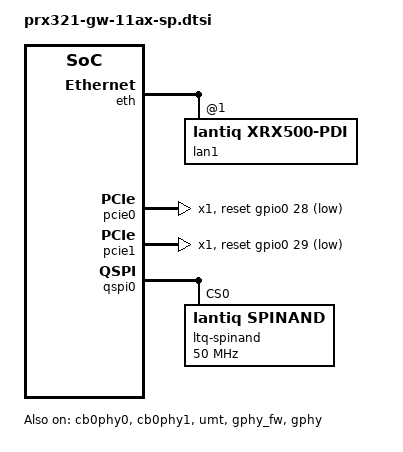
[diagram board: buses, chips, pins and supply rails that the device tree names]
#include <dt-bindings/interrupt-controller/mips-gic.h>
#include <dt-bindings/gpio/gpio.h>
#include "prx300.dtsi"

/******************************************************************************
 ** Board configuration: Configure LAN/WAN interfaces
 ******************************************************************************/
&eth {
	status = "okay";

	lan1: interface@1 {
		compatible = "lantiq,xrx500-pdi";
		#address-cells = <1>;
		#size-cells = <0>;
		reg = <1>;
		intel,dp-dev-port = <4>;
		intel,dp-port-id = <4>;
		mac = <&gsw_mac2>;

		lan1_eth: ethernet@1 {
			compatible = "lantiq,xrx500-pdi-port";
			reg = <2>;
			phy-mode = "rgmii";
			phy-handle = <&gphy>;
		};
	};
};

/******************************************************************************
 ** Board configuration: Enable PCIe board configuration.
 ** PCIE sub-system feature configuration, the pcie0/1 are defined in Soc level
 ******************************************************************************/
&cb0phy0 {
	intel,mode = <0>; /*0-pcie, 1-xpcs*/
	status = "okay";
};

&cb0phy1 {
	intel,mode = <0>; /*0-pcie, 1-xpcs*/
	status = "okay";
};

&pcie0 {
	status = "okay";
	intel,rst-interval = <200>;
	intel,inbound-swap = <1>;
	intel,outbound-swap = <0>;
	reset-gpios = <&gpio0 28 GPIO_ACTIVE_LOW>;
	num-lanes = <1>;
};

&pcie1 {
	status = "okay";
	intel,rst-interval = <200>;
	intel,inbound-swap = <1>;
	intel,outbound-swap = <0>;
	reset-gpios = <&gpio0 29 GPIO_ACTIVE_LOW>;
	num-lanes = <1>;
};

&umt {
	status = "okay";
};

&cqm {
	/* Total Number of Buffers in pool0 */
	intel,bm-buff-num = <0xaf40>;
	/* Size of each buffer in pool0 */
	intel,bm-buff-size = <0x1000>;
};

&dma1tx {
	lantiq,dma-desc-fod = <0>;
};

&pinctrl_qspi {
	intel,slew-rate = <1>;
	intel,drive-current = <3>;
};

&qspi0 {
	status = "okay";
	ltq-spinand@0 {
		status = "okay";
		#address-cells = <1>;
		#size-cells = <1>;
		compatible = "lantiq,spinand";
		reg = <0 1>;
		linux,mtd-name = "nand.0";
		spi-max-frequency = <50000000>;
		page-size = <2048>;
		block-size = <17>; // 2^17, 128KB
		spi-tx-bus-width = <4>;
		spi-rx-bus-width = <4>;

		/* Read-delay is needed for higher freq.
		 * 2 ref_clk is chosen as value that works well upto
		 * spi-freq 50MHz (with ref_clk 100MHz).
		 */
		read-delay = <2>;
		tshsl-ns = <200>;
		tsd2d-ns = <255>;
		tchsh-ns = <20>;
		tslch-ns = <20>;
	};
};

&gphy_fw {
	status = "okay";
};

&gphy {
	status = "okay";
};

&watchdog {
	/* individual reset controls that need to
	 * explicitly asserted during reset
	 */
	resets = <&rcu0 0x10 29>;
	reset-names = "gphy";
};

